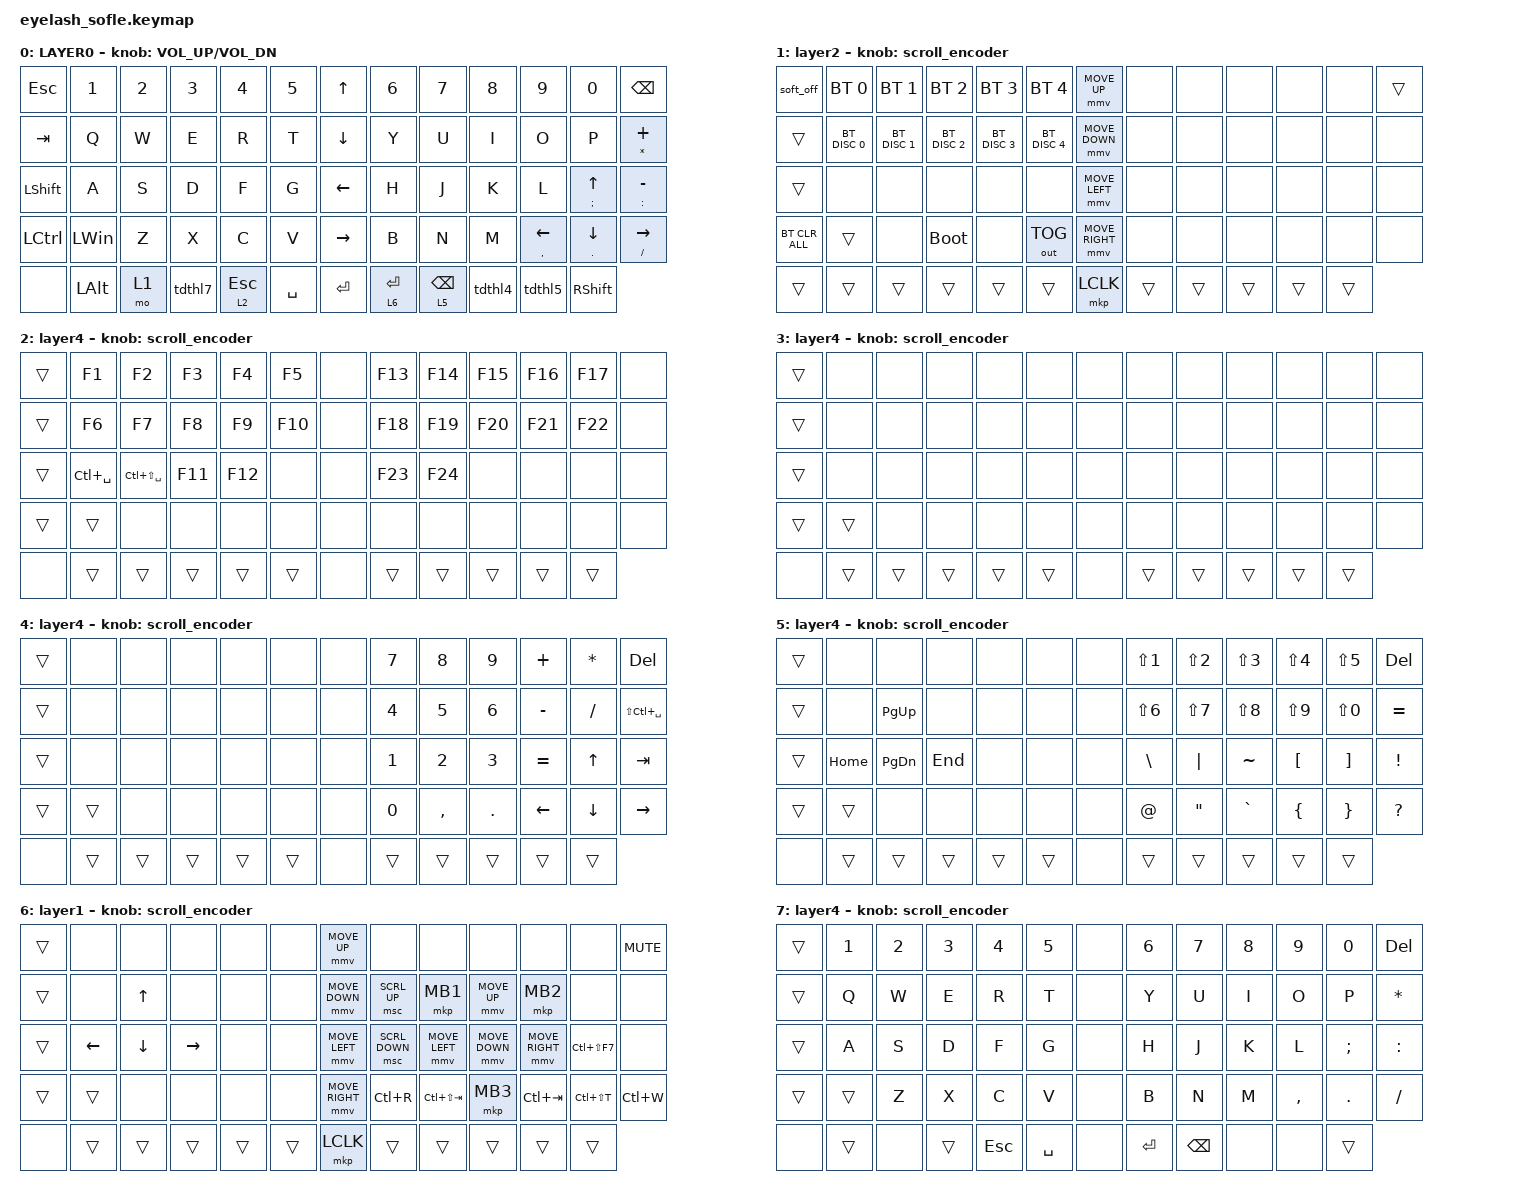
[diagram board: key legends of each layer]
#define ZMK_POINTING_DEFAULT_MOVE_VAL 1400  // 600
#define ZMK_POINTING_DEFAULT_SCRL_VAL 25   // 10

#include <input/processors.dtsi>
#include <zephyr/dt-bindings/input/input-event-codes.h>
#include <behaviors.dtsi>
#include <dt-bindings/zmk/bt.h>
#include <dt-bindings/zmk/keys.h>
#include <dt-bindings/zmk/outputs.h>
#include <dt-bindings/zmk/pointing.h>

&mmv_input_listener { input-processors = <&zip_xy_scaler 2 1>; };

&msc_input_listener { input-processors = <&zip_scroll_scaler 2 1>; };

&msc {
    acceleration-exponent = <0>;      // 0
    time-to-max-speed-ms = <0>;       // 300
    delay-ms = <0>;                   // 0
    trigger-period-ms = <16>;
};

&mmv {
    time-to-max-speed-ms = <300>;
    acceleration-exponent = <1>;
    trigger-period-ms = <16>;
    delay-ms = <0>;
};

&soft_off { hold-time-ms = <2000>; };

/ {
    scroll_encoder: scroll_encoder {
        compatible = "zmk,behavior-sensor-rotate";
        #sensor-binding-cells = <0>;
        bindings = <&msc SCRL_DOWN>, <&msc SCRL_UP>;

        tap-ms = <100>;
    };

    thc: thc {
        compatible = "zmk,behavior-hold-tap";
        label = "Tap Hold Cursor";
        bindings = <&kp>, <&kp>;

        #binding-cells = <2>;
        tapping-term-ms = <180>;
        quick-tap-ms = <180>;
        flavor = "tap-preferred";
    };

    th: th {
        compatible = "zmk,behavior-hold-tap";
        label = "Tap and hold";
        bindings = <&kp>, <&kp>;

        #binding-cells = <2>;
        tapping-term-ms = <150>;
    };

    thl2: thl2 {
        compatible = "zmk,behavior-hold-tap";
        label = "Tap Hold Layer 2";
        bindings = <&mo>, <&kp>;

        #binding-cells = <2>;
        tapping-term-ms = <140>;
        quick-tap-ms = <170>;
        flavor = "balanced";
    };

    thl3: thl3 {
        compatible = "zmk,behavior-hold-tap";
        label = "tap hold 2 layer";
        bindings = <&mo>, <&to>;

        #binding-cells = <2>;
        tapping-term-ms = <180>;
    };

    tdthl4: tdthl4 {
        compatible = "zmk,behavior-tap-dance";
        label = "Tap Dance and thl";
        #binding-cells = <0>;
        tapping-term-ms = <250>;
        bindings = <&thl3 4 0>, <&tgon 4>;
    };

    tdthl5: tdthl5 {
        compatible = "zmk,behavior-tap-dance";
        label = "tap dance and thl";
        #binding-cells = <0>;
        bindings = <&thl3 5 0>, <&tgon 5>;

        tapping-term-ms = <250>;
    };

    tdthl7: tdthl7 {
        compatible = "zmk,behavior-tap-dance";
        label = "TDTHL7";
        #binding-cells = <0>;
        bindings = <&thl3 0 0>, <&tgon 7>;

        tapping-term-ms = <250>;
    };

    tgon: tgon {
        compatible = "zmk,behavior-toggle-layer";
        label = "TGON";
        #binding-cells = <1>;
    };

    tgoff: tgoff {
        compatible = "zmk,behavior-toggle-layer";
        label = "TGOFF";
        #binding-cells = <1>;
        toggle-mode = "off";
    };

    behaviors {
    };

    combos { compatible = "zmk,combos"; };

    macros {
        SHIFT_MCLK: SHIFT_MCLK {
            compatible = "zmk,behavior-macro";
            #binding-cells = <0>;
            bindings =
                <&macro_press>,
                <&kp LEFT_SHIFT>,
                <&macro_press>,
                <&mkp MB3>,
                <&macro_pause_for_release>,
                <&macro_release>,
                <&kp LEFT_SHIFT &mkp MB3>;

            label = "SHIFT_MCLK";
        };
    };

    keymap {
        compatible = "zmk,keymap";

        layer0 {
            bindings = <
&kp ESC         &kp N1        &kp N2  &kp N3   &kp N4       &kp N5       &kp UP_ARROW     &kp N6         &kp N7             &kp N8   &kp N9           &kp N0             &kp BACKSPACE
&kp TAB         &kp Q         &kp W   &kp E    &kp R        &kp T        &kp DOWN_ARROW   &kp Y          &kp U              &kp I    &kp O            &kp P              &th ASTRK PLUS
&kp LEFT_SHIFT  &kp A         &kp S   &kp D    &kp F        &kp G        &kp LEFT_ARROW   &kp H          &kp J              &kp K    &kp L            &thc SEMICOLON UP  &th COLON MINUS
&kp LCTRL       &kp LEFT_WIN  &kp Z   &kp X    &kp C        &kp V        &kp RIGHT_ARROW  &kp B          &kp N              &kp M    &thc COMMA LEFT  &thc PERIOD DOWN   &thc SLASH RIGHT
&none           &kp LEFT_ALT  &mo 1   &tdthl7  &thl2 2 ESC  &kp SPACE    &kp ENTER        &thl2 6 ENTER  &thl2 5 BACKSPACE  &tdthl4  &tdthl5          &kp RIGHT_SHIFT
            >;

            sensor-bindings = <&inc_dec_kp C_VOLUME_UP C_VOL_DN>;
            display-name = "LAYER0";
        };

        BT {
            bindings = <
&soft_off       &bt BT_SEL 0   &bt BT_SEL 1   &bt BT_SEL 2   &bt BT_SEL 3   &bt BT_SEL 4     &mmv MOVE_UP     &none   &none   &none   &none   &none   &trans
&trans          &bt BT_DISC 0  &bt BT_DISC 1  &bt BT_DISC 2  &bt BT_DISC 3  &bt BT_DISC 4    &mmv MOVE_DOWN   &none   &none   &none   &none   &none   &none
&trans          &none          &none          &none          &none          &none            &mmv MOVE_LEFT   &none   &none   &none   &none   &none   &none
&bt BT_CLR_ALL  &trans         &none          &bootloader    &none          &out OUT_TOG     &mmv MOVE_RIGHT  &none   &none   &none   &none   &none   &none
&trans          &trans         &trans         &trans         &trans         &trans           &mkp LCLK        &trans  &trans  &trans  &trans  &trans
            >;

            display-name = "layer2";
            sensor-bindings = <&scroll_encoder>;
        };

        Function {
            display-name = "layer4";
            bindings = <
&trans  &kp F1         &kp F2             &kp F3   &kp F4   &kp F5     &none  &kp F13  &kp F14  &kp F15  &kp F16  &kp F17  &none
&trans  &kp F6         &kp F7             &kp F8   &kp F9   &kp F10    &none  &kp F18  &kp F19  &kp F20  &kp F21  &kp F22  &none
&trans  &kp LC(SPACE)  &kp LC(LS(SPACE))  &kp F11  &kp F12  &none      &none  &kp F23  &kp F24  &none    &none    &none    &none
&trans  &trans         &none              &none    &none    &none      &none  &none    &none    &none    &none    &none    &none
&none   &trans         &trans             &trans   &trans   &trans     &none  &trans   &trans   &trans   &trans   &trans
            >;

            sensor-bindings = <&scroll_encoder>;
        };

        empty {
            bindings = <
&trans  &none   &none   &none   &none   &none     &none  &none   &none   &none   &none   &none   &none
&trans  &none   &none   &none   &none   &none     &none  &none   &none   &none   &none   &none   &none
&trans  &none   &none   &none   &none   &none     &none  &none   &none   &none   &none   &none   &none
&trans  &trans  &none   &none   &none   &none     &none  &none   &none   &none   &none   &none   &none
&none   &trans  &trans  &trans  &trans  &trans    &none  &trans  &trans  &trans  &trans  &trans
            >;

            display-name = "layer4";
            sensor-bindings = <&scroll_encoder>;
        };

        numpad {
            display-name = "layer4";
            bindings = <
&trans  &none   &none   &none   &none   &none     &none  &kp N7  &kp N8     &kp N9   &kp PLUS   &kp ASTRK     &kp DEL
&trans  &none   &none   &none   &none   &none     &none  &kp N4  &kp N5     &kp N6   &kp MINUS  &kp SLASH     &kp LS(LC(SPACE))
&trans  &none   &none   &none   &none   &none     &none  &kp N1  &kp N2     &kp N3   &kp EQUAL  &kp UP_ARROW  &kp TAB
&trans  &trans  &none   &none   &none   &none     &none  &kp N0  &kp COMMA  &kp DOT  &kp LEFT   &kp DOWN      &kp RIGHT
&none   &trans  &trans  &trans  &trans  &trans    &none  &trans  &trans     &trans   &trans     &trans
            >;

            sensor-bindings = <&scroll_encoder>;
        };

        symbol {
            display-name = "layer4";
            bindings = <
&trans  &none     &none          &none    &none   &none     &none  &kp LS(N1)     &kp LS(N2)         &kp LS(N3)  &kp LS(N4)      &kp LS(N5)       &kp DEL
&trans  &none     &kp PG_UP      &none    &none   &none     &none  &kp LS(N6)     &kp LS(N7)         &kp LS(N8)  &kp LS(N9)      &kp LS(N0)       &kp EQUAL
&trans  &kp HOME  &kp PAGE_DOWN  &kp END  &none   &none     &none  &kp BACKSLASH  &kp PIPE           &kp TILDE   &kp LBKT        &kp RBKT         &kp EXCL
&trans  &trans    &none          &none    &none   &none     &none  &kp AT         &kp DOUBLE_QUOTES  &kp GRAVE   &kp LEFT_BRACE  &kp RIGHT_BRACE  &kp QUESTION
&none   &trans    &trans         &trans   &trans  &trans    &none  &trans         &trans             &trans      &trans          &trans
            >;

            sensor-bindings = <&scroll_encoder>;
        };

        mouse {
            bindings = <
&trans  &none     &none         &none      &none   &none     &mmv MOVE_UP     &none           &none            &none           &none            &none           &kp C_MUTE
&trans  &none     &kp UP_ARROW  &none      &none   &none     &mmv MOVE_DOWN   &msc SCRL_UP    &mkp MB1         &mmv MOVE_UP    &mkp MB2         &none           &none
&trans  &kp LEFT  &kp DOWN      &kp RIGHT  &none   &none     &mmv MOVE_LEFT   &msc SCRL_DOWN  &mmv MOVE_LEFT   &mmv MOVE_DOWN  &mmv MOVE_RIGHT  &kp LC(LS(F7))  &none
&trans  &trans    &none         &none      &none   &none     &mmv MOVE_RIGHT  &kp LC(R)       &kp LC(LS(TAB))  &mkp MB3        &kp LC(TAB)      &kp LC(LS(T))   &kp LC(W)
&none   &trans    &trans        &trans     &trans  &trans    &mkp LCLK        &trans          &trans           &trans          &trans           &trans
            >;

            display-name = "layer1";
            sensor-bindings = <&scroll_encoder>;
        };

        game {
            display-name = "layer4";
            bindings = <
&trans  &kp NUMBER_1  &kp NUMBER_2  &kp NUMBER_3  &kp NUMBER_4  &kp NUMBER_5    &none  &kp NUMBER_6  &kp NUMBER_7   &kp NUMBER_8  &kp NUMBER_9  &kp NUMBER_0   &kp DEL
&trans  &kp Q         &kp W         &kp E         &kp R         &kp T           &none  &kp Y         &kp U          &kp I         &kp O         &kp P          &kp ASTERISK
&trans  &kp A         &kp S         &kp D         &kp F         &kp G           &none  &kp H         &kp J          &kp K         &kp L         &kp SEMICOLON  &kp COLON
&trans  &trans        &kp Z         &kp X         &kp C         &kp V           &none  &kp B         &kp N          &kp M         &kp COMMA     &kp PERIOD     &kp SLASH
&none   &trans        &none         &trans        &kp ESCAPE    &kp SPACE       &none  &kp ENTER     &kp BACKSPACE  &none         &none         &trans
            >;

            sensor-bindings = <&scroll_encoder>;
        };
    };
};
